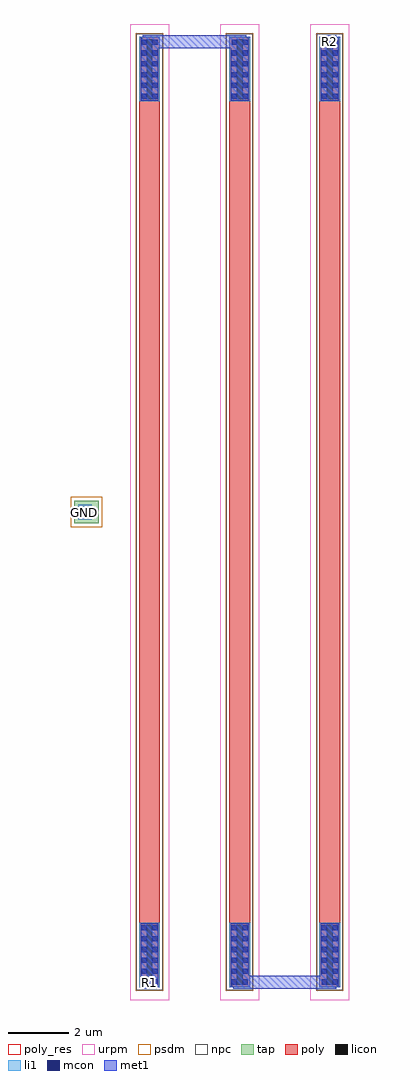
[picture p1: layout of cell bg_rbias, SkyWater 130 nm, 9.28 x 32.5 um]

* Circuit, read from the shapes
.subckt bg_rbias GND R1 R2
XR1 n1 R1 GND sky130_fd_pr__res_xhigh_po w=0.69 l=27.38
XR2 n1 n2 GND sky130_fd_pr__res_xhigh_po w=0.69 l=27.38
XR3 R2 n2 GND sky130_fd_pr__res_xhigh_po w=0.69 l=27.38
.ends

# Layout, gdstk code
import gdstk
lib = gdstk.Library(unit=1e-6, precision=1e-09)
def R(c, l, rs):  # rectangles x0, y0, x1, y1
    for r in rs: c.add(gdstk.rectangle(r[:2], r[2:], *l))
def A(c, l, x, y, w, h, nx, ny, dx, dy):  # array of equal rectangles
    R(c, l, [(x+i*dx, y+j*dy, x+i*dx+w, y+j*dy+h) for i in range(nx) for j in range(ny)])
tap = (65, 44)
poly_res = (66, 13)
poly = (66, 20)
licon = (66, 44)
li1 = (67, 20)
mcon = (67, 44)
met1 = (68, 20)
urpm = (79, 20)
psdm = (94, 20)
npc = (95, 20)

bg_rbias = lib.new_cell('bg_rbias')
R(bg_rbias, tap, [(-2.5,-0.375,-1.7,0.375)])
A(bg_rbias, poly_res, -0.345, -13.75, 0.69, 27.5, 3, 1, 3, 0)
A(bg_rbias, poly, -0.345, -15.83, 0.69, 31.66, 3, 1, 3, 0)
A(bg_rbias, licon, -0.095, -15.75, 0.19, 2, 3, 2, 3, 29.5)
R(bg_rbias, licon, [(-2.235,-0.085,-2.065,0.085)])
A(bg_rbias, li1, -0.345, -15.83, 0.69, 2.16, 3, 2, 3, 29.5)
R(bg_rbias, li1, [(-2.375,-0.24,-1.925,0.24)])
A(bg_rbias, mcon, -0.265, -15.735, 0.17, 0.17, 1, 6, 0, 0.36)
A(bg_rbias, mcon, 0.095, -15.735, 0.17, 0.17, 1, 6, 0, 0.36)
A(bg_rbias, mcon, 2.735, -15.735, 0.17, 0.17, 1, 6, 0, 0.36)
A(bg_rbias, mcon, 3.095, -15.735, 0.17, 0.17, 1, 6, 0, 0.36)
A(bg_rbias, mcon, 5.735, -15.735, 0.17, 0.17, 1, 6, 0, 0.36)
A(bg_rbias, mcon, 6.095, -15.735, 0.17, 0.17, 1, 6, 0, 0.36)
A(bg_rbias, mcon, -0.265, 13.76, 0.17, 0.17, 1, 6, 0, 0.36)
A(bg_rbias, mcon, 0.095, 13.76, 0.17, 0.17, 1, 6, 0, 0.36)
A(bg_rbias, mcon, 2.735, 13.76, 0.17, 0.17, 1, 6, 0, 0.36)
A(bg_rbias, mcon, 3.095, 13.76, 0.17, 0.17, 1, 6, 0, 0.36)
A(bg_rbias, mcon, 5.735, 13.76, 0.17, 0.17, 1, 6, 0, 0.36)
A(bg_rbias, mcon, 6.095, 13.76, 0.17, 0.17, 1, 6, 0, 0.36)
R(bg_rbias, mcon, [(-2.235,-0.085,-2.065,0.085)])
R(bg_rbias, met1, [(-0.22,-15.875,0.22,-15.8), (2.78,-15.875,6.22,-15.8), (-0.295,-15.8,0.295,-13.695), (2.705,-15.8,6.295,-15.435), (2.705,-15.435,3.295,-13.695), (5.705,-15.435,6.295,-13.695), (-2.375,-0.18,-1.925,0.18), (-0.295,13.695,0.295,15.435), (2.705,13.695,3.295,15.435), (5.705,13.695,6.295,15.8), (-0.295,15.435,3.295,15.8), (-0.22,15.8,3.22,15.875), (5.78,15.8,6.22,15.875)])
A(bg_rbias, urpm, -0.65, -16.25, 1.3, 32.5, 3, 1, 3, 0)
A(bg_rbias, psdm, -0.455, -15.94, 0.91, 31.88, 3, 1, 3, 0)
R(bg_rbias, psdm, [(-2.625,-0.5,-1.575,0.5)])
A(bg_rbias, npc, -0.44, -15.925, 0.88, 31.85, 3, 1, 3, 0)
bg_rbias.add(gdstk.Label('R1', (0,-15.655), layer=68, texttype=5))
bg_rbias.add(gdstk.Label('R2', (6,15.655), layer=68, texttype=5))
bg_rbias.add(gdstk.Label('GND', (-2.15,0), layer=68, texttype=5))

lib.write_gds('bg_rbias.gds')
